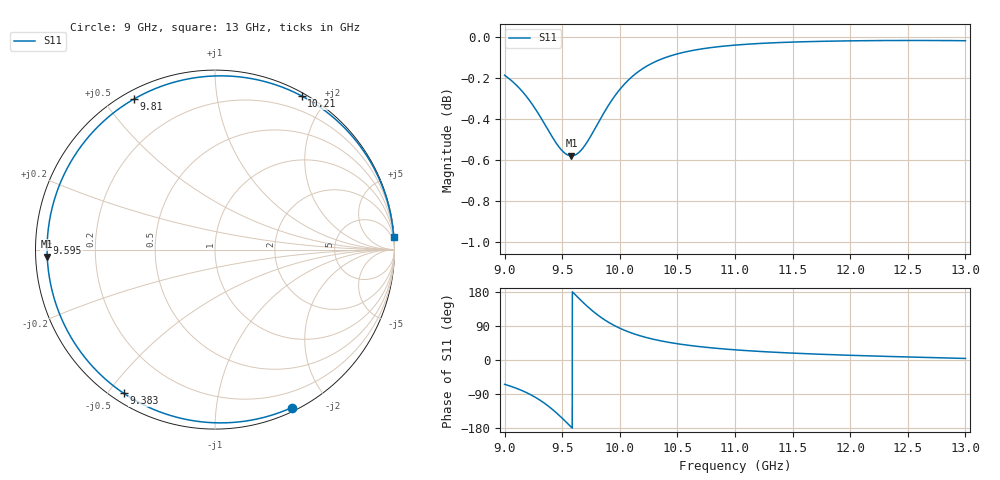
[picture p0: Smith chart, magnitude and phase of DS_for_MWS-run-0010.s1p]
! TOUCHSTONE file generated by CST DESIGN STUDIO
! Date and time: Tue Feb  4 13:10:33 2025
! Project name: C:\Work\MatlabApps\UnitCellOptimizationMatlab\CST\unitcell.cst
! Tree item: Tasks\Sweep1\SPara1\S-Parameters
! Header version: 2024
! Port assignment regex: !\s*Touchstone port\s*([0-9]+)\s*=\s*(CST MWS port|CST DES external port|CST DES block port)\s*(.+)\s* \(\"(.*)\"\)(\s*mode\s*([0-9]+))?.*
! Touchstone port assignment:
! Touchstone port 1 = CST DES external port 1 ("")
# GHz S MA R 50
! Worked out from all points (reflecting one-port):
!   4001 points, 9 GHz to 13 GHz, reference 50 ohm
!   lowest |S11| = -0.6 dB at 9.58 GHz (marker M1), VSWR 30.01, Z = 1.67 - j1.03 ohm
!   phase of S11 starts at -64 deg and turns -292 deg over the sweep
!   S11 on the Smith chart (normalised r, x): 9 GHz: 0.04, -1.59; 9.383 GHz: 0.03, -0.55; 9.595 GHz: 0.03, +0.02; 9.81 GHz: 0.03, +0.60; 10.21 GHz: 0.03, +1.71; 13 GHz: 1, +28
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9  0.9787 -64.2
9.047  0.9764 -68.7
9.116  0.9724 -76.3
9.233  0.9635 -92.7
9.313  0.9559 -107.2
9.383  0.9486 -122.5
9.441  0.9428 -137.1
9.5  0.9382 -153.6
9.541  0.9362 -165.7
9.58  0.9355 -177.6
9.595  0.9356 177.8
9.65  0.9376 161.0
9.71  0.9421 143.7
9.76  0.9472 130.4
9.81  0.9526 118.3
9.852  0.9572 109.2
9.896  0.9618 100.6
10  0.9709 83.8
10.103  0.9777 71.1
10.215  0.9829 60.6
10.346  0.9872 51.2
10.5  0.9904 42.9
10.72  0.9933 34.4
11  0.9953 26.8
11.5  0.997 18.2
12  0.9977 12.4
12.5  0.9979 8.0
13  0.9977 4.1
